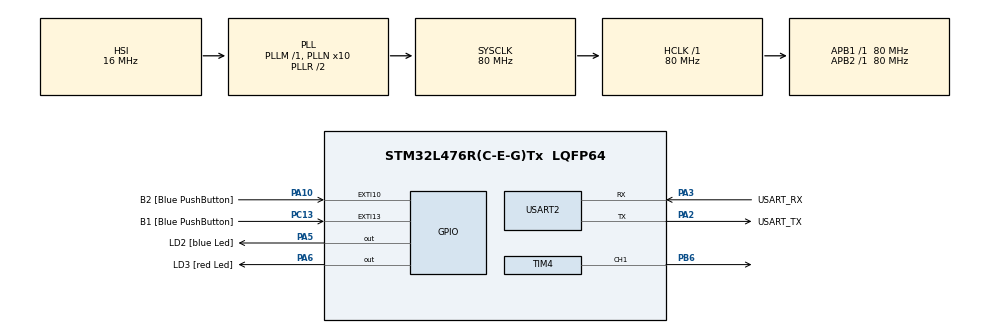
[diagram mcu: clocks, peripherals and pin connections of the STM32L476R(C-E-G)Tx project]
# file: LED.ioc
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Mcu.Family=STM32L4
Mcu.Name=STM32L476R(C-E-G)Tx
Mcu.Package=LQFP64
NVIC.EXTI15_10_IRQn=true\:0\:0\:false\:false\:true\:true\:true\:true
NVIC.PriorityGroup=NVIC_PRIORITYGROUP_4
NVIC.TIM4_IRQn=true\:0\:0\:false\:false\:true\:true\:true\:true
NVIC.TIM6_DAC_IRQn=true\:0\:0\:false\:false\:true\:true\:true\:true
PA10.GPIO_Label=B2 [Blue PushButton]
PA10.GPIO_ModeDefaultEXTI=GPIO_MODE_IT_RISING_FALLING
PA10.Signal=GPXTI10
PA13\ (JTMS-SWDIO).GPIO_Label=TMS
PA13\ (JTMS-SWDIO).Mode=Serial_Wire
PA13\ (JTMS-SWDIO).Signal=SYS_JTMS-SWDIO
PA14\ (JTCK-SWCLK).GPIO_Label=TCK
PA14\ (JTCK-SWCLK).Mode=Serial_Wire
PA14\ (JTCK-SWCLK).Signal=SYS_JTCK-SWCLK
PA2.GPIO_Label=USART_TX
PA2.GPIO_Mode=GPIO_MODE_AF_PP
PA2.GPIO_PuPd=GPIO_NOPULL
PA2.GPIO_Speed=GPIO_SPEED_FREQ_VERY_HIGH
PA2.Mode=Asynchronous
PA2.Signal=USART2_TX
PA3.GPIO_Label=USART_RX
PA3.GPIO_Mode=GPIO_MODE_AF_PP
PA3.GPIO_PuPd=GPIO_NOPULL
PA3.GPIO_Speed=GPIO_SPEED_FREQ_VERY_HIGH
PA3.Mode=Asynchronous
PA3.Signal=USART2_RX
PA5.GPIO_Label=LD2 [blue Led]
PA5.GPIO_ModeDefaultOutputPP=GPIO_MODE_OUTPUT_PP
PA5.GPIO_PuPd=GPIO_NOPULL
PA5.GPIO_Speed=GPIO_SPEED_FREQ_LOW
PA5.Signal=GPIO_Output
PA6.GPIO_Label=LD3 [red Led]
PA6.PinState=GPIO_PIN_RESET
PA6.Signal=GPIO_Output
PB3\ (JTDO-TRACESWO).GPIO_Label=SWO
PB3\ (JTDO-TRACESWO).Signal=SYS_JTDO-SWO
PB6.Signal=S_TIM4_CH1
PC13.GPIO_Label=B1 [Blue PushButton]
PC13.GPIO_ModeDefaultEXTI=GPIO_MODE_IT_FALLING
PC13.GPIO_PuPd=GPIO_NOPULL
PC13.Signal=GPXTI13
PC14-OSC32_IN\ (PC14).Mode=LSE-External-Oscillator
PC14-OSC32_IN\ (PC14).Signal=RCC_OSC32_IN
PC15-OSC32_OUT\ (PC15).Mode=LSE-External-Oscillator
PC15-OSC32_OUT\ (PC15).Signal=RCC_OSC32_OUT
PH0-OSC_IN\ (PH0).Signal=RCC_OSC_IN
PH1-OSC_OUT\ (PH1).Signal=RCC_OSC_OUT
ProjectManager.HeapSize=0x200
ProjectManager.StackSize=0x400
ProjectManager.TargetToolchain=STM32CubeIDE
RCC.ADCFreq_Value=64000000
RCC.AHBFreq_Value=80000000
RCC.APB1Freq_Value=80000000
RCC.APB1TimFreq_Value=80000000
RCC.APB2Freq_Value=80000000
RCC.APB2TimFreq_Value=80000000
RCC.CortexFreq_Value=80000000
RCC.HCLKFreq_Value=80000000
RCC.HSE_VALUE=8000000
RCC.HSI_VALUE=16000000
RCC.MSI_VALUE=4000000
RCC.PLLN=10
RCC.PLLSourceVirtual=RCC_PLLSOURCE_HSI
RCC.PREFETCH_ENABLE=1
RCC.SYSCLKFreq_VALUE=80000000
RCC.SYSCLKSource=RCC_SYSCLKSOURCE_PLLCLK
RCC.USBFreq_Value=64000000
RCC.VCOOutputFreq_Value=160000000
SH.S_TIM4_CH1.0=TIM4_CH1,PWM Generation1 CH1
TIM4.Channel-PWM\ Generation1\ CH1=TIM_CHANNEL_1
TIM4.Period=100
TIM4.Prescaler=7999
TIM4.Pulse-PWM\ Generation1\ CH1=30
TIM6.Period=10
TIM6.Prescaler=7999
USART2.VirtualMode-Asynchronous=VM_ASYNC
VP_TIM4_VS_ClockSourceINT.Mode=Internal
VP_TIM6_VS_ClockSourceINT.Mode=Enable_Timer
board=NUCLEO-L476RG

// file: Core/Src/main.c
/* USER CODE BEGIN Header */
/**
  ******************************************************************************
  * @file           : main.c
  * @brief          : Main program body
  ******************************************************************************
  * @attention
  *
  * Copyright (c) 2022 STMicroelectronics.
  * All rights reserved.
  *
  * This software is licensed under terms that can be found in the LICENSE file
  * in the root directory of this software component.
  * If no LICENSE file comes with this software, it is provided AS-IS.
  *
  ******************************************************************************
  */
/* USER CODE END Header */
#include "main.h"

/* USER CODE BEGIN Includes */
#include "LED.h"
#include "buttons.h"
/* USER CODE END Includes */

 TIM_HandleTypeDef htim4;
TIM_HandleTypeDef htim6;

UART_HandleTypeDef huart2;

/* USER CODE BEGIN PV */

Led blue;
Led red;
Button B2;

/* USER CODE END PV */

void SystemClock_Config(void);
static void MX_GPIO_Init(void);
static void MX_USART2_UART_Init(void);
static void MX_TIM6_Init(void);
static void MX_TIM4_Init(void);

/* USER CODE BEGIN 0 */
int cnt = 0;
void HAL_TIM_PeriodElapsedCallback(TIM_HandleTypeDef * htim)
{
	cnt++;
	if(cnt >= 100){
		uint32_t pulse = __HAL_TIM_GET_COMPARE(&htim4, TIM_CHANNEL_1);
		pulse = (pulse+30)%100;
		__HAL_TIM_SET_COMPARE(&htim4, TIM_CHANNEL_1, pulse);
		cnt = 0;
	}
	Led_on(&blue);
//	ledOnTimerInterrupt(&red);
//	ledOnTimerInterrupt(&blue);
}

void HAL_TIM_PWM_PulseFinishedCallback(TIM_HandleTypeDef *htim)
{
	Led_off(&blue);
}

void HAL_GPIO_EXTI_Callback(uint16_t GPIO_Pin)
{
	//buttonInterrupt(&B2);
	uint32_t pulse = __HAL_TIM_GET_COMPARE(&htim4, TIM_CHANNEL_1);
	pulse = (pulse+30)%100;
	__HAL_TIM_SET_COMPARE(&htim4, TIM_CHANNEL_1, pulse);
}

/* USER CODE END 0 */

int main(void)
{

  /* MCU Configuration--------------------------------------------------------*/

  /* Reset of all peripherals, Initializes the Flash interface and the Systick. */
  HAL_Init();

  /* Configure the system clock */
  SystemClock_Config();

  /* Initialize all configured peripherals */
  MX_GPIO_Init();
  MX_USART2_UART_Init();
  MX_TIM6_Init();
  MX_TIM4_Init();
  /* USER CODE BEGIN 2 */
  HAL_TIM_Base_Start_IT(&htim4);
  HAL_TIM_PWM_Start_IT(&htim4, TIM_CHANNEL_1);

  Led_init(&blue,LD2_GPIO_Port, LD2_Pin);
  Led_init(&red,LD3_GPIO_Port, LD3_Pin);

  Button_init(&B2,B2_GPIO_Port,B2_Pin);

  //__HAL_TIM_SET_COUNTER(&htim6, 0);
  //HAL_TIM_Base_Start_IT(&htim6);

//  ledBlink(&red, 300);
//  ledBlink(&blue, 700);

  /* USER CODE END 2 */

  /* Infinite loop */
  while (1)
  {

  }
}

void SystemClock_Config(void)
{
  RCC_OscInitTypeDef RCC_OscInitStruct = {0};
  RCC_ClkInitTypeDef RCC_ClkInitStruct = {0};

  /** Configure the main internal regulator output voltage
  */
  if (HAL_PWREx_ControlVoltageScaling(PWR_REGULATOR_VOLTAGE_SCALE1) != HAL_OK)
  {
    Error_Handler();
  }

  /** Initializes the RCC Oscillators according to the specified parameters
  * in the RCC_OscInitTypeDef structure.
  */
  RCC_OscInitStruct.OscillatorType = RCC_OSCILLATORTYPE_HSI;
  RCC_OscInitStruct.HSIState = RCC_HSI_ON;
  RCC_OscInitStruct.HSICalibrationValue = RCC_HSICALIBRATION_DEFAULT;
  RCC_OscInitStruct.PLL.PLLState = RCC_PLL_ON;
  RCC_OscInitStruct.PLL.PLLSource = RCC_PLLSOURCE_HSI;
  RCC_OscInitStruct.PLL.PLLM = 1;
  RCC_OscInitStruct.PLL.PLLN = 10;
  RCC_OscInitStruct.PLL.PLLP = RCC_PLLP_DIV7;
  RCC_OscInitStruct.PLL.PLLQ = RCC_PLLQ_DIV2;
  RCC_OscInitStruct.PLL.PLLR = RCC_PLLR_DIV2;
  if (HAL_RCC_OscConfig(&RCC_OscInitStruct) != HAL_OK)
  {
    Error_Handler();
  }

  /** Initializes the CPU, AHB and APB buses clocks
  */
  RCC_ClkInitStruct.ClockType = RCC_CLOCKTYPE_HCLK|RCC_CLOCKTYPE_SYSCLK
                              |RCC_CLOCKTYPE_PCLK1|RCC_CLOCKTYPE_PCLK2;
  RCC_ClkInitStruct.SYSCLKSource = RCC_SYSCLKSOURCE_PLLCLK;
  RCC_ClkInitStruct.AHBCLKDivider = RCC_SYSCLK_DIV1;
  RCC_ClkInitStruct.APB1CLKDivider = RCC_HCLK_DIV1;
  RCC_ClkInitStruct.APB2CLKDivider = RCC_HCLK_DIV1;

  if (HAL_RCC_ClockConfig(&RCC_ClkInitStruct, FLASH_LATENCY_4) != HAL_OK)
  {
    Error_Handler();
  }
}

static void MX_TIM4_Init(void)
{

  TIM_ClockConfigTypeDef sClockSourceConfig = {0};
  TIM_MasterConfigTypeDef sMasterConfig = {0};
  TIM_OC_InitTypeDef sConfigOC = {0};

  htim4.Instance = TIM4;
  htim4.Init.Prescaler = 7999;
  htim4.Init.CounterMode = TIM_COUNTERMODE_UP;
  htim4.Init.Period = 100;
  htim4.Init.ClockDivision = TIM_CLOCKDIVISION_DIV1;
  htim4.Init.AutoReloadPreload = TIM_AUTORELOAD_PRELOAD_DISABLE;
  if (HAL_TIM_Base_Init(&htim4) != HAL_OK)
  {
    Error_Handler();
  }
  sClockSourceConfig.ClockSource = TIM_CLOCKSOURCE_INTERNAL;
  if (HAL_TIM_ConfigClockSource(&htim4, &sClockSourceConfig) != HAL_OK)
  {
    Error_Handler();
  }
  if (HAL_TIM_PWM_Init(&htim4) != HAL_OK)
  {
    Error_Handler();
  }
  sMasterConfig.MasterOutputTrigger = TIM_TRGO_RESET;
  sMasterConfig.MasterSlaveMode = TIM_MASTERSLAVEMODE_DISABLE;
  if (HAL_TIMEx_MasterConfigSynchronization(&htim4, &sMasterConfig) != HAL_OK)
  {
    Error_Handler();
  }
  sConfigOC.OCMode = TIM_OCMODE_PWM1;
  sConfigOC.Pulse = 30;
  sConfigOC.OCPolarity = TIM_OCPOLARITY_HIGH;
  sConfigOC.OCFastMode = TIM_OCFAST_DISABLE;
  if (HAL_TIM_PWM_ConfigChannel(&htim4, &sConfigOC, TIM_CHANNEL_1) != HAL_OK)
  {
    Error_Handler();
  }
  HAL_TIM_MspPostInit(&htim4);

}

static void MX_TIM6_Init(void)
{

  TIM_MasterConfigTypeDef sMasterConfig = {0};

  htim6.Instance = TIM6;
  htim6.Init.Prescaler = 7999;
  htim6.Init.CounterMode = TIM_COUNTERMODE_UP;
  htim6.Init.Period = 10;
  htim6.Init.AutoReloadPreload = TIM_AUTORELOAD_PRELOAD_DISABLE;
  if (HAL_TIM_Base_Init(&htim6) != HAL_OK)
  {
    Error_Handler();
  }
  sMasterConfig.MasterOutputTrigger = TIM_TRGO_RESET;
  sMasterConfig.MasterSlaveMode = TIM_MASTERSLAVEMODE_DISABLE;
  if (HAL_TIMEx_MasterConfigSynchronization(&htim6, &sMasterConfig) != HAL_OK)
  {
    Error_Handler();
  }

}

static void MX_USART2_UART_Init(void)
{

  huart2.Instance = USART2;
  huart2.Init.BaudRate = 115200;
  huart2.Init.WordLength = UART_WORDLENGTH_8B;
  huart2.Init.StopBits = UART_STOPBITS_1;
  huart2.Init.Parity = UART_PARITY_NONE;
  huart2.Init.Mode = UART_MODE_TX_RX;
  huart2.Init.HwFlowCtl = UART_HWCONTROL_NONE;
  huart2.Init.OverSampling = UART_OVERSAMPLING_16;
  huart2.Init.OneBitSampling = UART_ONE_BIT_SAMPLE_DISABLE;
  huart2.AdvancedInit.AdvFeatureInit = UART_ADVFEATURE_NO_INIT;
  if (HAL_UART_Init(&huart2) != HAL_OK)
  {
    Error_Handler();
  }

}

static void MX_GPIO_Init(void)
{
  GPIO_InitTypeDef GPIO_InitStruct = {0};

  /* GPIO Ports Clock Enable */
  __HAL_RCC_GPIOC_CLK_ENABLE();
  __HAL_RCC_GPIOH_CLK_ENABLE();
  __HAL_RCC_GPIOA_CLK_ENABLE();
  __HAL_RCC_GPIOB_CLK_ENABLE();

  /*Configure GPIO pin Output Level */
  HAL_GPIO_WritePin(GPIOA, LD2_Pin|LD3_Pin, GPIO_PIN_RESET);

  /*Configure GPIO pin : B1_Pin */
  GPIO_InitStruct.Pin = B1_Pin;
  GPIO_InitStruct.Mode = GPIO_MODE_IT_FALLING;
  GPIO_InitStruct.Pull = GPIO_NOPULL;
  HAL_GPIO_Init(B1_GPIO_Port, &GPIO_InitStruct);

  /*Configure GPIO pins : LD2_Pin LD3_Pin */
  GPIO_InitStruct.Pin = LD2_Pin|LD3_Pin;
  GPIO_InitStruct.Mode = GPIO_MODE_OUTPUT_PP;
  GPIO_InitStruct.Pull = GPIO_NOPULL;
  GPIO_InitStruct.Speed = GPIO_SPEED_FREQ_LOW;
  HAL_GPIO_Init(GPIOA, &GPIO_InitStruct);

  /*Configure GPIO pin : B2_Pin */
  GPIO_InitStruct.Pin = B2_Pin;
  GPIO_InitStruct.Mode = GPIO_MODE_IT_RISING_FALLING;
  GPIO_InitStruct.Pull = GPIO_NOPULL;
  HAL_GPIO_Init(B2_GPIO_Port, &GPIO_InitStruct);

  /* EXTI interrupt init*/
  HAL_NVIC_SetPriority(EXTI15_10_IRQn, 0, 0);
  HAL_NVIC_EnableIRQ(EXTI15_10_IRQn);

}

void Error_Handler(void)
{
  __disable_irq();
  while (1)
  {
  }
}
